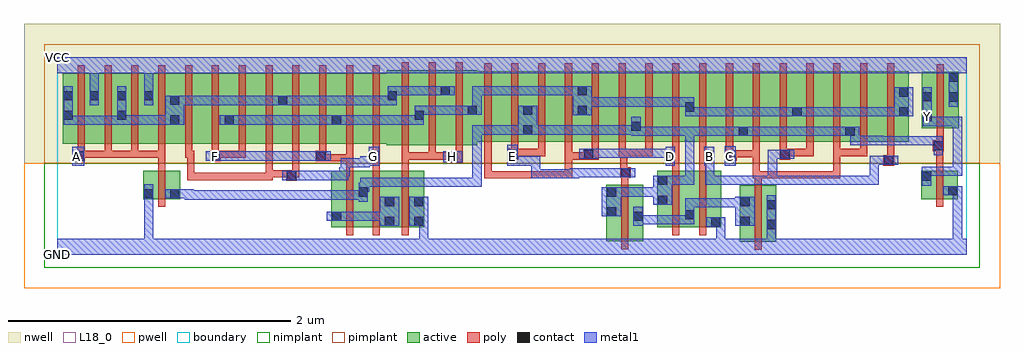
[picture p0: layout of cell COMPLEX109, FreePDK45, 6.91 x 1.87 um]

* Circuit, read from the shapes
.subckt COMPLEX109 A B C D E F G GND H VCC Y
M1 n1 A GND VSUBS nfet w=0.2u l=0.05u
M2 n1 F n2 VSUBS nfet w=0.4u l=0.05u
M3 n2 G n1 VSUBS nfet w=0.4u l=0.05u
M4 GND H n2 VSUBS nfet w=0.4u l=0.05u
M5 n3 E n1 VSUBS nfet w=0.4u l=0.05u
M6 n3 D n1 VSUBS nfet w=0.4u l=0.05u
M7 GND B n3 VSUBS nfet w=0.4u l=0.05u
M8 GND C n3 VSUBS nfet w=0.4u l=0.05u
M9 GND n1 Y VSUBS nfet w=0.2u l=0.05u
M10 VCC A n4 n5 pfet w=0.5u l=0.05u m=4
M11 n6 G n4 n5 pfet w=0.5u l=0.05u
M12 n7 F n6 n5 pfet w=0.5u l=0.05u
M13 n8 F n7 n5 pfet w=0.5u l=0.05u
M14 n4 G n8 n5 pfet w=0.5u l=0.05u
M15 n9 G n4 n5 pfet w=0.5u l=0.05u
M16 n7 F n9 n5 pfet w=0.5u l=0.05u
M17 n10 F n7 n5 pfet w=0.5u l=0.05u
M18 n4 G n10 n5 pfet w=0.5u l=0.05u
M19 n7 H n4 n5 pfet w=0.532u l=0.05u m=3
M20 n11 D n7 n5 pfet w=0.5u l=0.05u
M21 n1 E n11 n5 pfet w=0.5u l=0.05u
M22 n12 E n1 n5 pfet w=0.5u l=0.05u
M23 n7 D n12 n5 pfet w=0.5u l=0.05u
M24 n13 D n7 n5 pfet w=0.5u l=0.05u
M25 n1 E n13 n5 pfet w=0.5u l=0.05u
M26 n14 E n1 n5 pfet w=0.5u l=0.05u
M27 n7 D n14 n5 pfet w=0.5u l=0.05u
M28 n15 B n7 n5 pfet w=0.5u l=0.05u
M29 n1 C n15 n5 pfet w=0.5u l=0.05u
M30 n16 C n1 n5 pfet w=0.5u l=0.05u
M31 n7 B n16 n5 pfet w=0.5u l=0.05u
M32 n17 B n7 n5 pfet w=0.5u l=0.05u
M33 n1 C n17 n5 pfet w=0.5u l=0.05u
M34 n18 C n1 n5 pfet w=0.5u l=0.05u
M35 n7 B n18 n5 pfet w=0.5u l=0.05u
M36 VCC n1 Y n5 pfet w=0.4u l=0.05u
.ends

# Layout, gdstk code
import gdstk
lib = gdstk.Library(unit=1e-6, precision=1e-09)
def R(c, l, rs):  # rectangles x0, y0, x1, y1
    for r in rs: c.add(gdstk.rectangle(r[:2], r[2:], *l))
def A(c, l, x, y, w, h, nx, ny, dx, dy):  # array of equal rectangles
    R(c, l, [(x+i*dx, y+j*dy, x+i*dx+w, y+j*dy+h) for i in range(nx) for j in range(ny)])
active = (1, 0)
pwell = (2, 0)
nwell = (3, 0)
nimplant = (4, 0)
pimplant = (5, 0)
poly = (9, 0)
contact = (10, 0)
metal1 = (11, 0)
L18_0 = (18, 0)
boundary = (235, 0)

complex109 = lib.new_cell('COMPLEX109')
A(complex109, active, 1.025, 0.787, 0.23, 0.5, 3, 1, 0.38, 0)
A(complex109, active, 1.18, 0.787, 0.225, 0.5, 3, 1, 0.38, 0)
A(complex109, active, 3.525, 0.8, 0.23, 0.5, 5, 1, 0.38, 0)
A(complex109, active, 3.68, 0.8, 0.225, 0.5, 5, 1, 0.38, 0)
A(complex109, active, 3.68, 0.807, 0.075, 0.393, 3, 1, 0.76, 0)
R(complex109, active, [(4.832,0.092,5.092,0.492), (5.017,0.092,5.092,0.492), (3.887,0.095,4.15,0.495), (1.94,0.195,2.015,0.492), (1.94,0.195,2.205,0.595), (2.13,0.195,2.205,0.595), (2.13,0.195,2.39,0.595), (2.315,0.195,2.39,0.492), (2.315,0.195,2.597,0.595), (2.522,0.195,2.597,0.595), (3.887,0.195,3.962,0.495), (4.075,0.195,4.15,0.492), (4.25,0.195,4.325,0.595), (4.25,0.195,4.515,0.595), (4.44,0.195,4.7,0.595), (4.44,0.195,4.515,0.492), (4.625,0.195,4.7,0.487), (4.832,0.195,4.907,0.492), (0.61,0.395,0.685,0.595), (0.61,0.395,0.87,0.595), (0.795,0.395,0.87,0.595), (6.117,0.395,6.192,0.595), (6.117,0.395,6.377,0.595), (6.302,0.395,6.377,0.595), (2.335,0.775,2.6,1.307), (2.525,0.775,2.785,1.307), (2.525,0.775,2.6,1.07), (2.71,0.775,2.975,1.307), (2.71,0.775,2.785,1.2), (0.04,0.787,0.3,1.287), (0.04,0.787,0.115,1.2), (0.225,0.787,0.495,1.287), (0.42,0.787,0.685,1.287), (0.61,0.787,0.87,1.287), (0.795,0.787,1.025,1.287), (2.165,0.787,2.41,1.287), (2.9,0.8,3.145,1.3), (3.145,0.8,3.37,1.3), (3.295,0.8,3.525,1.3), (5.425,0.8,5.65,1.3), (5.575,0.8,5.805,1.3), (5.575,0.8,5.65,1.07), (5.805,0.8,6.03,1.3), (5.955,0.8,6.03,1.2), (2.335,0.802,2.41,1.2), (0.225,0.807,0.3,1.205), (0.42,0.807,0.495,1.2), (0.61,0.807,0.685,1.205), (0.795,0.807,0.87,1.2), (1.18,0.807,1.255,1.07), (1.56,0.807,1.635,1.2), (1.94,0.807,2.015,1.07), (2.9,0.807,2.975,1.2), (3.295,0.807,3.37,1.07), (4.06,0.807,4.135,1.07), (4.82,0.807,4.895,1.07), (6.122,0.895,6.382,1.295), (6.122,0.895,6.197,1.2), (6.307,0.895,6.382,1.295)])
R(complex109, pwell, [(-0.235,-0.235,6.675,0.65)])
R(complex109, nwell, [(-0.235,0.65,6.675,1.635)])
R(complex109, nimplant, [(-0.09,-0.09,6.53,0.65)])
R(complex109, pimplant, [(-0.09,0.65,6.53,1.49)])
A(complex109, poly, 2.44, 0.675, 0.05, 0.095, 3, 1, 0.19, 0)
A(complex109, poly, 0.145, 0.687, 0.05, 0.095, 7, 1, 0.19, 0)
A(complex109, poly, 0.145, 0.687, 0.24, 0.05, 3, 1, 0.19, 0)
A(complex109, poly, 3.785, 0.7, 0.05, 0.095, 3, 1, 0.19, 0)
A(complex109, poly, 5.115, 0.7, 0.05, 0.095, 4, 1, 0.19, 0)
A(complex109, poly, 5.305, 0.7, 0.05, 0.05, 3, 1, 0.19, 0)
A(complex109, poly, 2.44, 0.72, 0.05, 0.642, 3, 1, 0.19, 0)
A(complex109, poly, 0.145, 0.732, 0.05, 0.61, 12, 1, 0.19, 0)
A(complex109, poly, 3.025, 0.745, 0.05, 0.61, 16, 1, 0.19, 0)
R(complex109, poly, [(4.937,0.037,4.987,0.547), (3.992,0.04,4.042,0.55), (2.045,0.14,2.095,0.65), (2.235,0.14,2.285,0.65), (2.44,0.14,2.49,0.65), (4.355,0.14,4.405,0.65), (4.545,0.14,4.595,0.65), (0.715,0.34,0.765,0.65), (6.222,0.34,6.272,0.65), (4.937,0.497,4.987,0.592), (3.992,0.5,4.042,0.595), (1.622,0.525,1.697,0.6), (0.92,0.53,0.97,0.58), (0.92,0.53,1.202,0.58), (0.92,0.53,0.97,0.737), (1.152,0.53,1.202,0.58), (1.152,0.53,1.202,0.58), (1.152,0.53,1.202,0.58), (1.152,0.53,1.392,0.58), (1.342,0.53,1.392,0.58), (1.342,0.53,1.525,0.58), (1.475,0.53,1.525,0.58), (1.475,0.53,1.525,0.58), (1.475,0.53,1.525,0.58), (1.475,0.53,1.525,0.6), (3.025,0.542,3.075,0.592), (3.025,0.542,3.075,0.592), (3.025,0.542,3.075,0.592), (3.025,0.542,3.075,0.592), (3.025,0.542,3.075,0.592), (3.025,0.542,3.322,0.592), (3.025,0.542,3.075,0.795), (3.272,0.542,3.322,0.592), (3.272,0.542,3.455,0.592), (3.405,0.542,3.455,0.592), (3.405,0.542,3.455,0.592), (3.405,0.542,3.455,0.592), (3.405,0.542,3.645,0.592), (3.595,0.542,3.645,0.592), (3.595,0.542,3.645,0.592), (3.595,0.542,3.645,0.592), (3.595,0.542,3.645,0.725), (4.925,0.542,4.975,0.74), (4.925,0.542,4.987,0.592), (4.937,0.542,4.987,0.592), (4.937,0.542,4.987,0.592), (4.937,0.542,5.165,0.592), (5.115,0.542,5.165,0.592), (5.115,0.542,5.165,0.592), (5.115,0.542,5.165,0.592), (5.115,0.542,5.412,0.592), (5.362,0.542,5.412,0.592), (5.362,0.542,5.412,0.592), (5.362,0.542,5.412,0.592), (5.362,0.542,5.545,0.592), (5.495,0.542,5.545,0.592), (5.495,0.542,5.545,0.75), (3.987,0.545,4.062,0.62), (1.475,0.55,1.525,0.6), (1.475,0.55,1.525,0.782), (1.475,0.55,1.697,0.6), (1.647,0.55,1.697,0.6), (1.647,0.55,1.697,0.6), (1.647,0.55,1.697,0.6), (1.647,0.55,1.715,0.6), (1.665,0.55,1.715,0.782), (3.987,0.57,4.037,0.75), (0.715,0.6,0.765,0.737), (2.045,0.6,2.095,0.712), (2.235,0.6,2.285,0.712), (2.44,0.6,2.49,0.725), (4.355,0.6,4.405,0.712), (4.545,0.6,4.595,0.712), (6.222,0.6,6.272,0.785), (5.85,0.632,5.925,0.707), (2.762,0.65,2.87,0.725), (5.875,0.657,5.925,0.795), (0.12,0.662,0.195,0.737), (1.082,0.662,1.157,0.737), (1.83,0.662,1.905,0.737), (1.855,0.662,2.095,0.712), (2.045,0.662,2.095,0.712), (2.045,0.662,2.095,0.712), (2.045,0.662,2.095,0.712), (2.045,0.662,2.095,0.712), (2.045,0.662,2.095,0.712), (2.045,0.662,2.095,0.782), (2.21,0.662,2.285,0.737), (4.302,0.662,4.405,0.737), (4.355,0.662,4.405,0.712), (4.355,0.662,4.405,0.712), (4.545,0.662,4.652,0.737), (4.735,0.665,4.81,0.74), (2.44,0.675,2.49,0.725), (2.44,0.675,2.49,0.725), (2.44,0.675,2.49,0.725), (2.44,0.675,2.68,0.725), (2.63,0.675,2.68,0.725), (2.63,0.675,2.68,0.725), (2.63,0.675,2.68,0.725), (2.63,0.675,2.812,0.725), (2.762,0.675,2.812,0.725), (2.762,0.675,2.812,0.725), (3.19,0.675,3.265,0.75), (3.595,0.675,3.645,0.725), (3.595,0.675,3.777,0.725), (3.595,0.675,3.645,0.795), (3.727,0.675,3.777,0.725), (3.727,0.675,3.777,0.725), (3.727,0.675,3.835,0.75), (5.115,0.675,5.19,0.75), (0.335,0.687,0.385,0.737), (0.335,0.687,0.385,0.737), (0.335,0.687,0.385,0.737), (0.525,0.687,0.575,0.737), (0.525,0.687,0.575,0.737), (0.525,0.687,0.575,0.737), (0.715,0.687,0.765,0.737), (0.715,0.687,0.765,0.737), (0.715,0.687,0.765,0.737), (0.715,0.687,0.765,0.737), (0.715,0.687,0.765,0.737), (0.905,0.687,0.955,0.737), (0.905,0.687,0.955,0.737), (0.905,0.687,0.97,0.737), (1.107,0.687,1.157,0.737), (1.107,0.687,1.157,0.737), (1.107,0.687,1.335,0.737), (1.285,0.687,1.335,0.737), (1.855,0.687,1.905,0.782), (2.235,0.687,2.285,0.737), (2.235,0.687,2.285,0.737), (2.235,0.687,2.285,0.782), (4.355,0.687,4.405,0.795), (4.545,0.687,4.595,0.737), (4.545,0.687,4.595,0.737), (4.545,0.687,4.595,0.795), (4.735,0.69,4.785,0.795), (4.76,0.69,4.81,0.74), (4.76,0.69,4.81,0.74), (4.76,0.69,4.975,0.74), (4.925,0.69,4.975,0.74), (4.925,0.69,4.975,0.795), (3.215,0.7,3.265,0.75), (3.215,0.7,3.265,0.75), (3.215,0.7,3.265,0.795), (3.215,0.7,3.455,0.75), (3.405,0.7,3.455,0.75), (3.405,0.7,3.455,0.795), (3.975,0.7,4.037,0.75), (3.987,0.7,4.037,0.75), (3.987,0.7,4.037,0.75), (3.987,0.7,4.215,0.75), (4.165,0.7,4.215,0.75), (5.14,0.7,5.19,0.75), (5.14,0.7,5.19,0.75), (5.14,0.7,5.355,0.75), (5.495,0.7,5.735,0.75), (5.685,0.7,5.735,0.75), (5.685,0.7,5.735,0.75), (6.2,0.735,6.277,0.81), (6.222,0.735,6.272,0.785), (6.222,0.735,6.272,0.785), (6.227,0.76,6.277,0.89), (6.227,0.84,6.277,1.35)])
R(complex109, contact, [(5.022,0.182,5.087,0.247), (4.63,0.2,4.695,0.265), (2.32,0.205,2.385,0.27), (2.527,0.205,2.592,0.27), (4.837,0.205,4.902,0.27), (1.945,0.24,2.01,0.305), (4.08,0.24,4.145,0.305), (4.445,0.252,4.51,0.317), (3.892,0.272,3.957,0.337), (5.022,0.322,5.087,0.387), (2.32,0.345,2.385,0.41), (2.527,0.345,2.592,0.41), (4.837,0.345,4.902,0.41), (4.255,0.355,4.32,0.42), (0.615,0.4,0.68,0.465), (0.8,0.4,0.865,0.465), (2.135,0.412,2.2,0.477), (3.892,0.412,3.957,0.477), (6.307,0.422,6.372,0.487), (4.255,0.495,4.32,0.56), (6.122,0.525,6.187,0.59), (1.627,0.53,1.692,0.595), (3.992,0.55,4.057,0.615), (5.855,0.637,5.92,0.702), (2.767,0.655,2.832,0.72), (0.125,0.667,0.19,0.732), (1.087,0.667,1.152,0.732), (1.835,0.667,1.9,0.732), (2.215,0.667,2.28,0.732), (4.307,0.667,4.372,0.732), (4.582,0.667,4.647,0.732), (4.74,0.67,4.805,0.735), (3.195,0.68,3.26,0.745), (3.732,0.68,3.797,0.745), (5.12,0.68,5.185,0.745), (6.205,0.74,6.27,0.805), (4.825,0.842,4.89,0.907), (5.58,0.842,5.645,0.907), (3.3,0.852,3.365,0.917), (4.065,0.877,4.13,0.942), (0.8,0.922,0.865,0.987), (1.185,0.922,1.25,0.987), (1.945,0.922,2.01,0.987), (6.127,0.947,6.192,1.012), (0.045,0.955,0.11,1.02), (0.425,0.955,0.49,1.02), (2.53,0.957,2.595,1.022), (5.205,0.98,5.27,1.045), (5.96,0.98,6.025,1.045), (3.685,0.99,3.75,1.055), (2.905,0.992,2.97,1.057), (3.3,0.992,3.365,1.057), (4.445,1.015,4.51,1.08), (1.565,1.06,1.63,1.125), (0.8,1.062,0.865,1.127), (6.312,1.085,6.377,1.15), (6.127,1.087,6.192,1.152), (0.045,1.095,0.11,1.16), (0.23,1.095,0.295,1.16), (0.425,1.095,0.49,1.16), (0.615,1.095,0.68,1.16), (2.34,1.095,2.405,1.16), (5.96,1.12,6.025,1.185), (2.715,1.13,2.78,1.195), (3.685,1.13,3.75,1.195), (6.312,1.225,6.377,1.29)])
R(complex109, metal1, [(0,0,6.44,0.115), (0.615,0.05,0.68,0.115), (0.615,0.05,0.68,0.115), (0.615,0.05,0.68,0.43), (2.562,0.05,2.627,0.27), (4.665,0.05,4.73,0.265), (5.022,0.05,5.087,0.212), (6.342,0.05,6.407,0.115), (6.342,0.05,6.407,0.115), (6.342,0.05,6.407,0.487), (5.022,0.147,5.087,0.422), (4.595,0.2,4.73,0.265), (2.285,0.205,2.42,0.41), (2.492,0.205,2.627,0.41), (4.08,0.205,4.145,0.34), (4.802,0.205,4.937,0.41), (4.08,0.217,4.19,0.282), (4.125,0.217,4.19,0.282), (4.125,0.217,4.372,0.282), (4.307,0.217,4.372,0.282), (4.307,0.217,4.372,0.282), (4.307,0.217,4.372,0.282), (4.307,0.217,4.51,0.282), (4.445,0.217,4.51,0.352), (1.91,0.24,2.045,0.305), (1.98,0.24,2.045,0.305), (1.98,0.24,2.045,0.305), (1.98,0.24,2.2,0.305), (2.135,0.24,2.2,0.305), (2.135,0.24,2.212,0.305), (2.147,0.24,2.212,0.305), (2.147,0.24,2.35,0.305), (3.857,0.272,3.992,0.477), (4.445,0.287,4.51,0.352), (4.445,0.287,4.51,0.402), (4.445,0.337,4.647,0.402), (4.582,0.337,4.647,0.402), (4.582,0.337,4.79,0.402), (4.725,0.337,4.79,0.402), (4.725,0.337,4.867,0.402), (4.22,0.355,4.355,0.56), (0.615,0.365,0.68,0.43), (0.615,0.365,0.68,0.43), (0.615,0.365,0.68,0.5), (2.135,0.377,2.2,0.512), (0.902,0.392,1.037,0.457), (0.902,0.392,0.967,0.465), (0.972,0.392,1.037,0.457), (0.972,0.392,1.187,0.457), (1.122,0.392,1.187,0.457), (1.122,0.392,1.187,0.457), (1.122,0.392,1.187,0.457), (1.122,0.392,1.325,0.457), (1.26,0.392,1.325,0.457), (1.26,0.392,1.462,0.457), (1.397,0.392,1.462,0.457), (1.397,0.392,1.462,0.457), (1.397,0.392,1.462,0.457), (1.397,0.392,1.6,0.457), (1.535,0.392,1.6,0.457), (1.535,0.392,1.6,0.457), (1.535,0.392,1.6,0.457), (1.535,0.392,1.802,0.457), (1.737,0.392,1.802,0.457), (1.737,0.392,1.907,0.457), (1.842,0.392,1.907,0.457), (1.842,0.392,2.062,0.457), (1.997,0.392,2.062,0.457), (1.997,0.392,2.062,0.457), (1.997,0.392,2.062,0.457), (1.997,0.392,2.2,0.457), (0.765,0.4,0.9,0.465), (0.835,0.4,0.967,0.465), (3.927,0.412,4.052,0.477), (3.987,0.412,4.052,0.477), (3.987,0.412,4.13,0.477), (4.065,0.412,4.13,0.477), (4.065,0.412,4.19,0.477), (4.125,0.412,4.19,0.477), (4.125,0.412,4.285,0.477), (6.272,0.422,6.407,0.487), (6.342,0.422,6.407,0.487), (6.342,0.422,6.407,0.487), (2.135,0.447,2.21,0.512), (2.145,0.447,2.21,0.547), (2.145,0.482,2.42,0.547), (2.355,0.482,2.42,0.547), (2.355,0.482,2.42,0.547), (2.355,0.482,2.42,0.547), (2.355,0.482,2.607,0.547), (2.542,0.482,2.607,0.547), (2.542,0.482,2.607,0.547), (2.542,0.482,2.607,0.547), (2.542,0.482,2.797,0.547), (2.732,0.482,2.797,0.547), (2.732,0.482,2.797,0.547), (2.732,0.482,2.797,0.547), (2.732,0.482,3.005,0.547), (2.94,0.482,3.005,0.547), (2.94,0.482,3.005,0.917), (6.122,0.49,6.187,0.625), (4.29,0.495,4.372,0.56), (4.307,0.495,4.372,0.56), (4.307,0.495,4.51,0.56), (4.445,0.495,4.51,0.56), (4.445,0.495,4.51,0.56), (4.445,0.495,4.51,0.56), (4.445,0.495,4.51,0.907), (4.587,0.495,4.79,0.56), (4.587,0.495,4.652,0.697), (4.725,0.495,4.79,0.56), (4.725,0.495,4.79,0.56), (4.725,0.495,4.79,0.56), (4.725,0.495,4.96,0.56), (4.895,0.495,4.96,0.56), (4.895,0.495,5.097,0.56), (5.032,0.495,5.097,0.56), (5.032,0.495,5.097,0.56), (5.032,0.495,5.097,0.56), (5.032,0.495,5.272,0.56), (5.032,0.495,5.097,0.745), (5.207,0.495,5.272,0.56), (5.207,0.495,5.272,0.56), (5.207,0.495,5.272,0.56), (5.207,0.495,5.442,0.56), (5.377,0.495,5.442,0.56), (5.377,0.495,5.442,0.56), (5.377,0.495,5.442,0.56), (5.377,0.495,5.68,0.56), (5.615,0.495,5.68,0.56), (5.615,0.495,5.68,0.56), (5.615,0.495,5.68,0.56), (5.615,0.495,5.817,0.56), (5.752,0.495,5.817,0.56), (5.752,0.495,5.817,0.702), (1.592,0.53,1.727,0.595), (1.662,0.53,1.837,0.595), (1.772,0.53,1.837,0.595), (1.772,0.53,1.865,0.595), (1.8,0.53,1.865,0.595), (1.8,0.53,2.062,0.595), (1.997,0.53,2.062,0.622), (3.355,0.542,3.42,0.607), (3.355,0.542,3.42,0.607), (3.355,0.542,3.42,0.607), (3.355,0.542,3.557,0.607), (3.355,0.542,3.42,0.697), (3.492,0.542,3.557,0.607), (3.492,0.542,3.557,0.607), (3.492,0.542,3.557,0.607), (3.492,0.542,3.695,0.607), (3.63,0.542,3.695,0.607), (3.63,0.542,3.695,0.607), (3.63,0.542,3.695,0.615), (3.63,0.55,3.965,0.615), (3.9,0.55,3.965,0.615), (3.9,0.55,4.022,0.615), (3.957,0.55,4.092,0.615), (1.997,0.557,2.072,0.622), (2.007,0.557,2.072,0.685), (6.122,0.56,6.407,0.625), (6.342,0.56,6.407,0.625), (6.342,0.56,6.407,0.625), (6.342,0.56,6.407,0.625), (6.342,0.56,6.407,0.977), (2.007,0.62,2.212,0.685), (2.147,0.62,2.212,0.697), (0.107,0.632,0.19,0.767), (2.147,0.632,2.272,0.697), (2.207,0.632,2.28,0.767), (3.187,0.632,3.26,0.78), (3.195,0.632,3.42,0.697), (3.355,0.632,3.42,0.697), (4.307,0.632,4.372,0.767), (4.582,0.632,4.652,0.767), (4.587,0.632,4.652,0.697), (4.727,0.632,4.805,0.77), (5.752,0.637,5.817,0.702), (5.752,0.637,5.885,0.702), (5.82,0.637,5.955,0.702), (2.732,0.655,2.867,0.732), (1.052,0.667,1.187,0.732), (1.122,0.667,1.187,0.732), (1.122,0.667,1.187,0.732), (1.122,0.667,1.325,0.732), (1.26,0.667,1.325,0.732), (1.26,0.667,1.422,0.732), (1.357,0.667,1.422,0.732), (1.357,0.667,1.462,0.732), (1.397,0.667,1.462,0.732), (1.397,0.667,1.6,0.732), (1.535,0.667,1.6,0.732), (1.535,0.667,1.6,0.732), (1.535,0.667,1.6,0.732), (1.535,0.667,1.837,0.732), (1.772,0.667,1.837,0.732), (1.772,0.667,1.865,0.732), (1.8,0.667,1.935,0.732), (3.697,0.68,3.832,0.752), (5.032,0.68,5.097,0.745), (5.032,0.68,5.15,0.745), (5.085,0.68,5.22,0.745), (3.767,0.687,3.992,0.752), (3.927,0.687,3.992,0.752), (3.927,0.687,3.992,0.752), (3.927,0.687,3.992,0.752), (3.927,0.687,4.13,0.752), (4.065,0.687,4.13,0.752), (4.065,0.687,4.235,0.752), (4.17,0.687,4.235,0.752), (4.17,0.687,4.372,0.752), (4.307,0.687,4.372,0.752), (4.307,0.687,4.372,0.752), (6.205,0.705,6.27,0.84), (5.787,0.775,6.132,0.84), (5.787,0.775,5.852,0.842), (6.067,0.775,6.132,0.84), (6.067,0.775,6.132,0.84), (6.067,0.775,6.132,0.84), (6.067,0.775,6.132,0.84), (6.067,0.775,6.132,0.84), (6.067,0.775,6.27,0.84), (5.615,0.777,5.852,0.842), (5.615,0.777,5.68,0.907), (5.787,0.777,5.852,0.842), (5.787,0.777,5.852,0.842), (4.065,0.842,4.13,0.977), (4.065,0.842,4.19,0.907), (4.125,0.842,4.19,0.907), (4.125,0.842,4.372,0.907), (4.307,0.842,4.372,0.907), (4.307,0.842,4.372,0.907), (4.307,0.842,4.372,0.907), (4.307,0.842,4.51,0.907), (4.445,0.842,4.51,0.907), (4.445,0.842,4.51,0.907), (4.445,0.842,4.51,0.907), (4.445,0.842,4.652,0.907), (4.587,0.842,4.652,0.907), (4.587,0.842,4.652,0.907), (4.587,0.842,4.652,0.907), (4.587,0.842,4.805,0.907), (4.74,0.842,4.805,0.907), (4.74,0.842,4.855,0.907), (4.79,0.842,4.925,0.907), (4.86,0.842,4.942,0.907), (4.877,0.842,4.942,0.907), (4.877,0.842,5.097,0.907), (5.032,0.842,5.097,0.907), (5.032,0.842,5.097,0.907), (5.032,0.842,5.097,0.907), (5.032,0.842,5.235,0.907), (5.17,0.842,5.235,0.907), (5.17,0.842,5.235,0.907), (5.17,0.842,5.235,0.907), (5.17,0.842,5.472,0.907), (5.407,0.842,5.472,0.907), (5.407,0.842,5.472,0.907), (5.407,0.842,5.472,0.907), (5.407,0.842,5.61,0.907), (5.545,0.842,5.68,0.907), (5.615,0.842,5.68,0.907), (2.94,0.852,3.005,0.917), (2.94,0.852,3.005,0.917), (2.94,0.852,3.005,0.917), (2.94,0.852,3.005,0.917), (2.94,0.852,3.005,0.917), (2.94,0.852,3.005,0.917), (2.94,0.852,3.005,0.917), (2.94,0.852,3.142,0.917), (3.077,0.852,3.142,0.917), (3.077,0.852,3.142,0.917), (3.077,0.852,3.142,0.917), (3.077,0.852,3.33,0.917), (3.265,0.852,3.4,1.057), (3.335,0.852,3.4,0.917), (3.335,0.852,3.4,0.917), (3.335,0.852,3.557,0.917), (3.492,0.852,3.557,0.917), (3.492,0.852,3.557,0.917), (3.492,0.852,3.557,0.917), (3.492,0.852,3.695,0.917), (3.63,0.852,3.695,0.917), (3.63,0.852,3.695,0.917), (3.63,0.852,3.695,0.917), (3.63,0.852,3.97,0.917), (3.905,0.852,3.97,0.917), (3.905,0.852,3.97,0.917), (3.905,0.852,3.97,0.917), (3.905,0.852,4.13,0.917), (6.127,0.912,6.192,1.187), (6.127,0.912,6.407,0.977), (6.342,0.912,6.407,0.977), (6.342,0.912,6.407,0.977), (6.342,0.912,6.407,0.977), (6.342,0.912,6.407,0.977), (6.342,0.912,6.407,0.977), (6.342,0.912,6.407,0.977), (6.342,0.912,6.407,0.977), (6.342,0.912,6.407,0.977), (6.342,0.912,6.407,0.977), (0.045,0.92,0.11,1.195), (0.045,0.92,0.11,0.985), (0.045,0.92,0.11,0.985), (0.045,0.92,0.352,0.985), (0.287,0.92,0.352,0.985), (0.287,0.92,0.352,0.985), (0.287,0.92,0.352,0.985), (0.287,0.92,0.49,0.985), (0.425,0.92,0.49,1.195), (0.425,0.922,0.49,0.987), (0.425,0.922,0.49,0.987), (0.425,0.922,0.692,0.987), (0.627,0.922,0.692,0.987), (0.627,0.922,0.83,0.987), (0.765,0.922,0.83,0.987), (0.765,0.922,0.83,0.987), (0.765,0.922,0.9,1.127), (1.15,0.922,1.285,0.987), (1.22,0.922,1.325,0.987), (1.26,0.922,1.325,0.987), (1.26,0.922,1.457,0.987), (1.392,0.922,1.457,0.987), (1.392,0.922,1.462,0.987), (1.397,0.922,1.462,0.987), (1.397,0.922,1.6,0.987), (1.535,0.922,1.6,0.987), (1.535,0.922,1.6,0.987), (1.535,0.922,1.6,0.987), (1.535,0.922,1.837,0.987), (1.772,0.922,1.837,0.987), (1.772,0.922,1.865,0.987), (1.8,0.922,1.865,0.987), (1.8,0.922,1.975,0.987), (1.91,0.922,2.045,0.987), (1.98,0.922,2.045,0.987), (1.98,0.922,2.045,0.987), (1.98,0.922,2.212,0.987), (2.147,0.922,2.212,0.987), (2.147,0.922,2.212,0.987), (2.147,0.922,2.212,0.987), (2.147,0.922,2.35,0.987), (2.285,0.922,2.35,0.987), (2.285,0.922,2.35,0.987), (2.285,0.922,2.35,0.987), (2.285,0.922,2.595,0.987), (2.53,0.922,2.595,1.057), (4.445,0.98,4.51,1.115), (4.445,0.98,4.652,1.045), (4.587,0.98,4.652,1.045), (4.587,0.98,4.652,1.045), (4.587,0.98,4.652,1.045), (4.587,0.98,4.805,1.045), (4.74,0.98,4.805,1.045), (4.74,0.98,4.805,1.045), (4.74,0.98,4.805,1.045), (4.74,0.98,4.96,1.045), (4.895,0.98,4.96,1.045), (4.895,0.98,5.097,1.045), (5.032,0.98,5.097,1.045), (5.032,0.98,5.097,1.045), (5.032,0.98,5.097,1.045), (5.032,0.98,5.235,1.045), (5.17,0.98,5.305,1.045), (5.24,0.98,5.305,1.045), (5.24,0.98,5.305,1.045), (5.24,0.98,5.472,1.045), (5.407,0.98,5.472,1.045), (5.407,0.98,5.472,1.045), (5.407,0.98,5.472,1.045), (5.407,0.98,5.68,1.045), (5.615,0.98,5.68,1.045), (5.615,0.98,5.68,1.045), (5.615,0.98,5.68,1.045), (5.615,0.98,5.817,1.045), (5.752,0.98,5.817,1.045), (5.752,0.98,5.99,1.045), (5.925,0.98,5.99,1.045), (5.925,0.98,5.99,1.045), (5.925,0.98,6.06,1.185), (3.65,0.99,3.785,1.195), (2.53,0.992,2.595,1.057), (2.53,0.992,2.595,1.057), (2.53,0.992,2.595,1.057), (2.53,0.992,2.595,1.057), (2.53,0.992,2.797,1.057), (2.732,0.992,2.797,1.057), (2.732,0.992,2.797,1.057), (2.732,0.992,2.797,1.057), (2.732,0.992,2.935,1.057), (2.87,0.992,3.005,1.057), (2.94,0.992,3.005,1.195), (3.72,1.05,3.785,1.115), (3.72,1.05,3.785,1.115), (3.72,1.05,3.992,1.115), (3.927,1.05,3.992,1.115), (3.927,1.05,3.992,1.115), (3.927,1.05,3.992,1.115), (3.927,1.05,4.13,1.115), (4.065,1.05,4.13,1.115), (4.065,1.05,4.235,1.115), (4.17,1.05,4.235,1.115), (4.17,1.05,4.372,1.115), (4.307,1.05,4.372,1.115), (4.307,1.05,4.372,1.115), (4.307,1.05,4.372,1.115), (4.307,1.05,4.51,1.115), (6.312,1.05,6.377,1.325), (0.23,1.06,0.295,1.195), (0.615,1.06,0.68,1.195), (0.835,1.06,0.967,1.125), (0.902,1.06,0.967,1.125), (0.902,1.06,1.037,1.125), (0.972,1.06,1.037,1.125), (0.972,1.06,1.175,1.125), (1.11,1.06,1.175,1.125), (1.11,1.06,1.175,1.125), (1.11,1.06,1.175,1.125), (1.11,1.06,1.325,1.125), (1.26,1.06,1.325,1.125), (1.26,1.06,1.457,1.125), (1.392,1.06,1.457,1.125), (1.392,1.06,1.462,1.125), (1.397,1.06,1.462,1.125), (1.397,1.06,1.595,1.125), (1.53,1.06,1.665,1.125), (1.6,1.06,1.665,1.125), (1.6,1.06,1.665,1.125), (1.6,1.06,1.837,1.125), (1.772,1.06,1.837,1.125), (1.772,1.06,1.865,1.125), (1.8,1.06,1.865,1.125), (1.8,1.06,2.045,1.125), (1.98,1.06,2.045,1.125), (1.98,1.06,2.045,1.125), (1.98,1.06,2.045,1.125), (1.98,1.06,2.2,1.125), (2.135,1.06,2.2,1.125), (2.135,1.06,2.21,1.125), (2.145,1.06,2.21,1.125), (2.145,1.06,2.405,1.125), (2.34,1.06,2.405,1.195), (0.23,1.13,0.295,1.35), (0.615,1.13,0.68,1.35), (2.34,1.13,2.405,1.195), (2.34,1.13,2.405,1.195), (2.34,1.13,2.557,1.195), (2.492,1.13,2.557,1.195), (2.492,1.13,2.557,1.195), (2.492,1.13,2.557,1.195), (2.492,1.13,2.745,1.195), (2.68,1.13,2.815,1.195), (2.94,1.13,3.005,1.195), (2.94,1.13,3.005,1.195), (2.94,1.13,3.005,1.195), (2.94,1.13,3.142,1.195), (3.077,1.13,3.142,1.195), (3.077,1.13,3.142,1.195), (3.077,1.13,3.142,1.195), (3.077,1.13,3.42,1.195), (3.355,1.13,3.42,1.195), (3.355,1.13,3.42,1.195), (3.355,1.13,3.42,1.195), (3.355,1.13,3.557,1.195), (3.492,1.13,3.557,1.195), (3.492,1.13,3.557,1.195), (3.492,1.13,3.557,1.195), (3.492,1.13,3.715,1.195), (6.312,1.26,6.377,1.35), (0,1.285,6.44,1.4)])
R(complex109, L18_0, [(0,0,6.44,0.115), (0.615,0.05,0.68,0.115), (0.615,0.05,0.68,0.115), (0.615,0.05,0.68,0.43), (2.562,0.05,2.627,0.27), (4.665,0.05,4.73,0.265), (5.022,0.05,5.087,0.212), (6.342,0.05,6.407,0.115), (6.342,0.05,6.407,0.115), (6.342,0.05,6.407,0.487), (5.022,0.147,5.087,0.422), (4.595,0.2,4.73,0.265), (2.492,0.205,2.627,0.41), (0.615,0.365,0.68,0.5), (0.615,0.365,0.68,0.43), (0.615,0.365,0.68,0.43), (6.272,0.422,6.407,0.487), (6.342,0.422,6.407,0.487), (6.342,0.422,6.407,0.487), (6.122,0.49,6.187,0.625), (4.587,0.495,4.79,0.56), (4.587,0.495,4.652,0.697), (4.725,0.495,4.79,0.56), (4.725,0.495,4.79,0.56), (4.725,0.495,4.79,0.56), (4.725,0.495,4.96,0.56), (4.895,0.495,4.96,0.56), (4.895,0.495,5.097,0.56), (5.032,0.495,5.097,0.56), (5.032,0.495,5.097,0.56), (5.032,0.495,5.097,0.56), (5.032,0.495,5.097,0.745), (5.032,0.495,5.272,0.56), (5.207,0.495,5.272,0.56), (5.207,0.495,5.272,0.56), (5.207,0.495,5.272,0.56), (5.207,0.495,5.442,0.56), (5.377,0.495,5.442,0.56), (5.377,0.495,5.442,0.56), (5.377,0.495,5.442,0.56), (5.377,0.495,5.68,0.56), (5.615,0.495,5.68,0.56), (5.615,0.495,5.68,0.56), (5.615,0.495,5.68,0.56), (5.615,0.495,5.817,0.56), (5.752,0.495,5.817,0.56), (5.752,0.495,5.817,0.702), (1.592,0.53,1.727,0.595), (1.662,0.53,1.837,0.595), (1.772,0.53,1.837,0.595), (1.772,0.53,1.865,0.595), (1.8,0.53,1.865,0.595), (1.8,0.53,2.062,0.595), (1.997,0.53,2.062,0.622), (3.355,0.542,3.42,0.607), (3.355,0.542,3.42,0.607), (3.355,0.542,3.42,0.607), (3.355,0.542,3.42,0.697), (3.355,0.542,3.557,0.607), (3.492,0.542,3.557,0.607), (3.492,0.542,3.557,0.607), (3.492,0.542,3.557,0.607), (3.492,0.542,3.695,0.607), (3.63,0.542,3.695,0.607), (3.63,0.542,3.695,0.607), (3.63,0.542,3.695,0.615), (3.63,0.55,3.965,0.615), (3.9,0.55,3.965,0.615), (3.9,0.55,4.022,0.615), (3.957,0.55,4.092,0.615), (1.997,0.557,2.072,0.622), (2.007,0.557,2.072,0.685), (6.122,0.56,6.407,0.625), (6.342,0.56,6.407,0.625), (6.342,0.56,6.407,0.625), (6.342,0.56,6.407,0.625), (6.342,0.56,6.407,0.977), (2.007,0.62,2.212,0.685), (2.147,0.62,2.212,0.697), (0.107,0.632,0.19,0.767), (2.147,0.632,2.272,0.697), (2.207,0.632,2.28,0.767), (3.187,0.632,3.26,0.78), (3.195,0.632,3.42,0.697), (3.355,0.632,3.42,0.697), (4.307,0.632,4.372,0.767), (4.582,0.632,4.652,0.767), (4.587,0.632,4.652,0.697), (4.727,0.632,4.805,0.77), (5.752,0.637,5.817,0.702), (5.752,0.637,5.885,0.702), (5.82,0.637,5.955,0.702), (2.732,0.655,2.867,0.732), (0.107,0.667,0.172,0.732), (1.052,0.667,1.187,0.732), (1.087,0.667,1.152,0.732), (1.122,0.667,1.187,0.732), (1.122,0.667,1.187,0.732), (1.122,0.667,1.325,0.732), (1.26,0.667,1.325,0.732), (1.26,0.667,1.422,0.732), (1.357,0.667,1.422,0.732), (1.357,0.667,1.462,0.732), (1.397,0.667,1.462,0.732), (1.397,0.667,1.6,0.732), (1.535,0.667,1.6,0.732), (1.535,0.667,1.6,0.732), (1.535,0.667,1.6,0.732), (1.535,0.667,1.837,0.732), (1.772,0.667,1.837,0.732), (1.772,0.667,1.865,0.732), (1.8,0.667,1.935,0.732), (2.207,0.667,2.272,0.732), (2.767,0.667,2.832,0.732), (3.187,0.667,3.252,0.732), (4.307,0.667,4.372,0.732), (4.587,0.667,4.652,0.732), (4.727,0.667,4.792,0.732), (3.697,0.68,3.832,0.752), (5.032,0.68,5.097,0.745), (5.032,0.68,5.15,0.745), (5.085,0.68,5.22,0.745), (3.767,0.687,3.992,0.752), (3.927,0.687,3.992,0.752), (3.927,0.687,3.992,0.752), (3.927,0.687,3.992,0.752), (3.927,0.687,4.13,0.752), (4.065,0.687,4.13,0.752), (4.065,0.687,4.235,0.752), (4.17,0.687,4.235,0.752), (4.17,0.687,4.372,0.752), (4.307,0.687,4.372,0.752), (4.307,0.687,4.372,0.752), (6.127,0.912,6.192,1.187), (6.127,0.912,6.407,0.977), (6.342,0.912,6.407,0.977), (6.342,0.912,6.407,0.977), (6.342,0.912,6.407,0.977), (6.342,0.912,6.407,0.977), (6.342,0.912,6.407,0.977), (6.342,0.912,6.407,0.977), (6.342,0.912,6.407,0.977), (6.342,0.912,6.407,0.977), (6.342,0.912,6.407,0.977), (6.127,0.947,6.192,1.012), (6.312,1.05,6.377,1.325), (0.23,1.06,0.295,1.195), (0.615,1.06,0.68,1.195), (0.23,1.13,0.295,1.35), (0.615,1.13,0.68,1.35), (6.312,1.26,6.377,1.35), (0,1.285,6.44,1.4)])
R(complex109, boundary, [(0,0,6.44,1.4)])
complex109.add(gdstk.Label('A', (0.14,0.7), layer=11, texttype=0))
complex109.add(gdstk.Label('B', (4.62,0.7), layer=11, texttype=0))
complex109.add(gdstk.Label('C', (4.76,0.7), layer=11, texttype=0))
complex109.add(gdstk.Label('D', (4.34,0.7), layer=11, texttype=0))
complex109.add(gdstk.Label('E', (3.22,0.7), layer=11, texttype=0))
complex109.add(gdstk.Label('F', (1.12,0.7), layer=11, texttype=0))
complex109.add(gdstk.Label('G', (2.24,0.7), layer=11, texttype=0))
complex109.add(gdstk.Label('H', (2.8,0.7), layer=11, texttype=0))
complex109.add(gdstk.Label('Y', (6.16,0.98), layer=11, texttype=0))
complex109.add(gdstk.Label('VCC', (0,1.4), layer=11, texttype=0))
complex109.add(gdstk.Label('GND', (0,0), layer=11, texttype=0))

lib.write_gds('COMPLEX109.gds')
